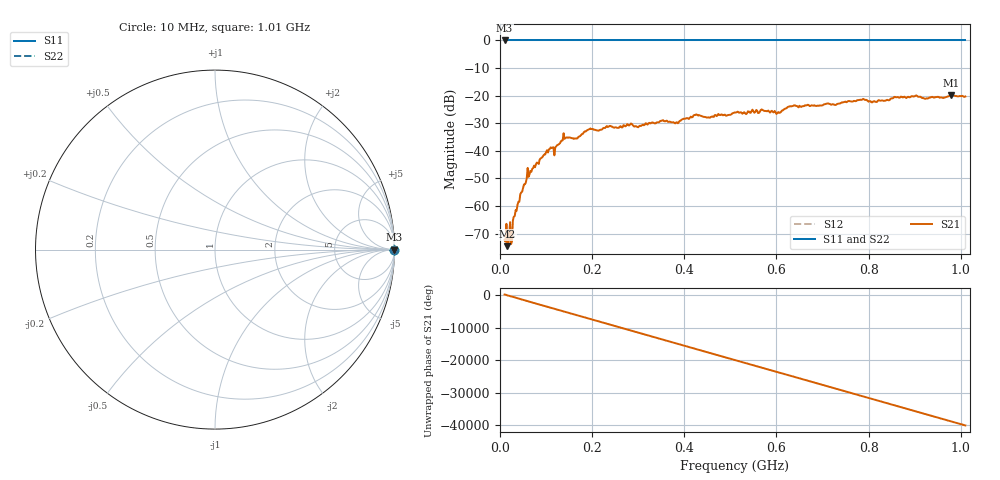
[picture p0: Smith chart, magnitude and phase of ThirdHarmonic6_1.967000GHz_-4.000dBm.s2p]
! 8/16/2025 11:39:53 PM
! C:\ANRITSUVNA\TEMP\TEMP.S2P
! CHANNEL.1
! TR.MEASUREMENT
! RAW.DATA
! RF.CORRECTION.OFF
! AVERAGING.OFF
! IF.BANDWIDTH: 5KHZ
! SWEEPTYPE:  FREQ.SWEEP(Linear)
! Reference Plane Port Info
! PORT:  PORT1  PORT2
! DISTANCE:  0  m  0  m
! TIME:  0  s  0  s
! PHASE.OFFSET:  0  deg.  0  deg.
! LOSS:  0  dB  0  dB
! REF.LOSS:  0  dB  0  dB
! REF.FREQ:  0  Hz  0  Hz
! Power Info
! POWER:  -20  dBm  -20  dBm
! EFF.POWER:  -20  dBm  -20  dBm
! SOURCE.ATTEN:  0  dB  0  dB
! TEST.ATTEN:  0  dB  0  dB
# GHZ S RI R 50.0
! FREQ.GHZ  S11RE  S11IM  S21RE  S21IM  S12RE  S12IM  S22RE  S22IM
!; PortSelection: Port_12
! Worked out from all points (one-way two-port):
!   501 points, 10 MHz to 1.01 GHz, reference 50 ohm
!   highest |S21| = -19.90 dB at 978 MHz (marker M1); lowest = -74.6 dB at 16 MHz (marker M2)
!   lowest |S11| = 0.0 dB at 10 MHz (marker M3)
!   |S11| at or under -10 dB: nowhere
!   |S22| runs from 0.0 to 0.0 dB; largest |S21 - S12| = 1.1
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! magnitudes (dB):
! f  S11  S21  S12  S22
! 10 MHz  0.0  -72.3  0.0  0.0
! 16 MHz  0.0  -74.6  0.0  0.0
! 18 MHz  0.0  -74.3  0.0  0.0
! 22 MHz  0.0  -65.9  0.0  0.0
! 28 MHz  0.0  -65.2  0.0  0.0
! 32 MHz  0.0  -63.7  0.0  0.0
! 42 MHz  0.0  -58.5  0.0  0.0
! 64 MHz  0.0  -48.6  0.0  0.0
! 98 MHz  0.0  -41.4  0.0  0.0
! 122 MHz  0.0  -38.4  0.0  0.0
! 136 MHz  0.0  -36.2  0.0  0.0
! 178 MHz  0.0  -33.9  0.0  0.0
! 196 MHz  0.0  -31.9  0.0  0.0
! 344 MHz  0.0  -29.7  0.0  0.0
! 382 MHz  0.0  -29.8  0.0  0.0
! 510 MHz  0.0  -26.1  0.0  0.0
! 604 MHz  0.0  -26.0  0.0  0.0
! 630 MHz  0.0  -23.8  0.0  0.0
! 678 MHz  0.0  -23.6  0.0  0.0
! 844 MHz  0.0  -21.7  0.0  0.0
! 978 MHz  0.0  -19.9  0.0  0.0
! 1.01 GHz  0.0  -20.3  0.0  0.0
